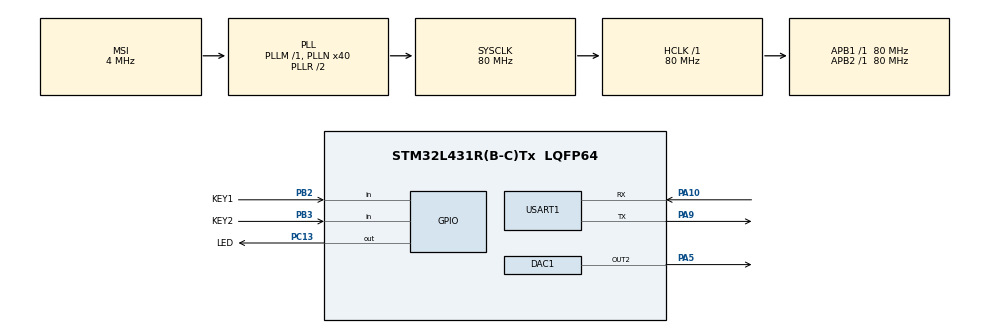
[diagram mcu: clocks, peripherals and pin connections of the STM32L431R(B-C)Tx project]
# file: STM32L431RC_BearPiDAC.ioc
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DAC1.DAC_Channel-DAC_OUT2=DAC_CHANNEL_2
Mcu.Family=STM32L4
Mcu.Name=STM32L431R(B-C)Tx
Mcu.Package=LQFP64
NVIC.PriorityGroup=NVIC_PRIORITYGROUP_4
PA10.Mode=Asynchronous
PA10.Signal=USART1_RX
PA5.Signal=COMP_DAC12_group
PA9.Mode=Asynchronous
PA9.Signal=USART1_TX
PB2.GPIO_Label=KEY1
PB2.Signal=GPIO_Input
PB3\ (JTDO-TRACESWO).GPIO_Label=KEY2
PB3\ (JTDO-TRACESWO).Signal=GPIO_Input
PC13.GPIO_Label=LED
PC13.Signal=GPIO_Output
ProjectManager.HeapSize=0x200
ProjectManager.StackSize=0x400
ProjectManager.TargetToolchain=MDK-ARM V5
RCC.AHBFreq_Value=80000000
RCC.APB1Freq_Value=80000000
RCC.APB1TimFreq_Value=80000000
RCC.APB2Freq_Value=80000000
RCC.APB2TimFreq_Value=80000000
RCC.CortexFreq_Value=80000000
RCC.HCLKFreq_Value=80000000
RCC.HSE_VALUE=8000000
RCC.HSI48_VALUE=48000000
RCC.HSI_VALUE=16000000
RCC.LSE_VALUE=32768
RCC.MSI_VALUE=4000000
RCC.PLLN=40
RCC.SYSCLKFreq_VALUE=80000000
RCC.SYSCLKSource=RCC_SYSCLKSOURCE_PLLCLK
RCC.VCOOutputFreq_Value=160000000
SH.COMP_DAC12_group.0=DAC1_OUT2,DAC_OUT2
USART1.VirtualMode-Asynchronous=VM_ASYNC
board=custom

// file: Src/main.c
/* USER CODE BEGIN Header */
/**
  ******************************************************************************
  * @file           : main.c
  * @brief          : Main program body
  ******************************************************************************
  * @attention
  *
  * <h2><center>&copy; Copyright (c) 2020 STMicroelectronics.
  * All rights reserved.</center></h2>
  *
  * This software component is licensed by ST under BSD 3-Clause license,
  * the "License"; You may not use this file except in compliance with the
  * License. You may obtain a copy of the License at:
  *                        opensource.org/licenses/BSD-3-Clause
  *
  ******************************************************************************
  */
/* USER CODE END Header */

#include "main.h"
#include "dac.h"
#include "usart.h"
#include "gpio.h"

/* USER CODE BEGIN Includes */
#include "stdio.h"
/* USER CODE END Includes */

void SystemClock_Config(void);

int main(void)
{
  /* USER CODE BEGIN 1 */
	int DACvalue = 0;
  /* USER CODE END 1 */

  /* MCU Configuration--------------------------------------------------------*/

  /* Reset of all peripherals, Initializes the Flash interface and the Systick. */
  HAL_Init();

  /* Configure the system clock */
  SystemClock_Config();

  /* Initialize all configured peripherals */
  MX_GPIO_Init();
  MX_DAC1_Init();
  MX_USART1_UART_Init();
  /* USER CODE BEGIN 2 */
	HAL_DAC_Start(&hdac1, DAC1_CHANNEL_2);  //启动DAC转换
  /* USER CODE END 2 */

  /* Infinite loop */
  while (1)
  {

    /* USER CODE BEGIN 3 */
		if(HAL_GPIO_ReadPin(KEY1_GPIO_Port, KEY1_Pin) == GPIO_PIN_RESET)
		{
			HAL_Delay(100);
			if(HAL_GPIO_ReadPin(KEY1_GPIO_Port, KEY1_Pin) == GPIO_PIN_RESET)
			{
				DACvalue += 10;
				if(DACvalue > 255)
				{
					DACvalue = 255;
					HAL_DAC_SetValue(&hdac1, DAC1_CHANNEL_2, DAC_ALIGN_8B_R, DACvalue);
					printf("KEY1 + DACvalue:%d, Voltage: %3.3f\r\n", DACvalue, DACvalue*3.3 /255);
				}
			}
		}

		if(HAL_GPIO_ReadPin(KEY2_GPIO_Port, KEY2_Pin) == GPIO_PIN_RESET)
		{
			HAL_Delay(100);
			if(HAL_GPIO_ReadPin(KEY2_GPIO_Port, KEY2_Pin) == GPIO_PIN_RESET)
			{
				DACvalue -= 10;
				if(DACvalue < 0)
				{
					DACvalue = 0;
					HAL_DAC_SetValue(&hdac1, DAC1_CHANNEL_2, DAC_ALIGN_8B_R, DACvalue);
					printf("KEY2 - DACvalue:%d, Voltage: %3.3f\r\n", DACvalue, DACvalue*3.3 /255);
				}
			}
		}

  }
  /* USER CODE END 3 */
}

void SystemClock_Config(void)
{
  RCC_OscInitTypeDef RCC_OscInitStruct = {0};
  RCC_ClkInitTypeDef RCC_ClkInitStruct = {0};
  RCC_PeriphCLKInitTypeDef PeriphClkInit = {0};

  /** Initializes the CPU, AHB and APB busses clocks
  */
  RCC_OscInitStruct.OscillatorType = RCC_OSCILLATORTYPE_MSI;
  RCC_OscInitStruct.MSIState = RCC_MSI_ON;
  RCC_OscInitStruct.MSICalibrationValue = 0;
  RCC_OscInitStruct.MSIClockRange = RCC_MSIRANGE_6;
  RCC_OscInitStruct.PLL.PLLState = RCC_PLL_ON;
  RCC_OscInitStruct.PLL.PLLSource = RCC_PLLSOURCE_MSI;
  RCC_OscInitStruct.PLL.PLLM = 1;
  RCC_OscInitStruct.PLL.PLLN = 40;
  RCC_OscInitStruct.PLL.PLLP = RCC_PLLP_DIV7;
  RCC_OscInitStruct.PLL.PLLQ = RCC_PLLQ_DIV2;
  RCC_OscInitStruct.PLL.PLLR = RCC_PLLR_DIV2;
  if (HAL_RCC_OscConfig(&RCC_OscInitStruct) != HAL_OK)
  {
    Error_Handler();
  }
  /** Initializes the CPU, AHB and APB busses clocks
  */
  RCC_ClkInitStruct.ClockType = RCC_CLOCKTYPE_HCLK|RCC_CLOCKTYPE_SYSCLK
                              |RCC_CLOCKTYPE_PCLK1|RCC_CLOCKTYPE_PCLK2;
  RCC_ClkInitStruct.SYSCLKSource = RCC_SYSCLKSOURCE_PLLCLK;
  RCC_ClkInitStruct.AHBCLKDivider = RCC_SYSCLK_DIV1;
  RCC_ClkInitStruct.APB1CLKDivider = RCC_HCLK_DIV1;
  RCC_ClkInitStruct.APB2CLKDivider = RCC_HCLK_DIV1;

  if (HAL_RCC_ClockConfig(&RCC_ClkInitStruct, FLASH_LATENCY_4) != HAL_OK)
  {
    Error_Handler();
  }
  PeriphClkInit.PeriphClockSelection = RCC_PERIPHCLK_USART1;
  PeriphClkInit.Usart1ClockSelection = RCC_USART1CLKSOURCE_PCLK2;
  if (HAL_RCCEx_PeriphCLKConfig(&PeriphClkInit) != HAL_OK)
  {
    Error_Handler();
  }
  /** Configure the main internal regulator output voltage
  */
  if (HAL_PWREx_ControlVoltageScaling(PWR_REGULATOR_VOLTAGE_SCALE1) != HAL_OK)
  {
    Error_Handler();
  }
}

void Error_Handler(void)
{
}

/************************ (C) COPYRIGHT STMicroelectronics *****END OF FILE****/
